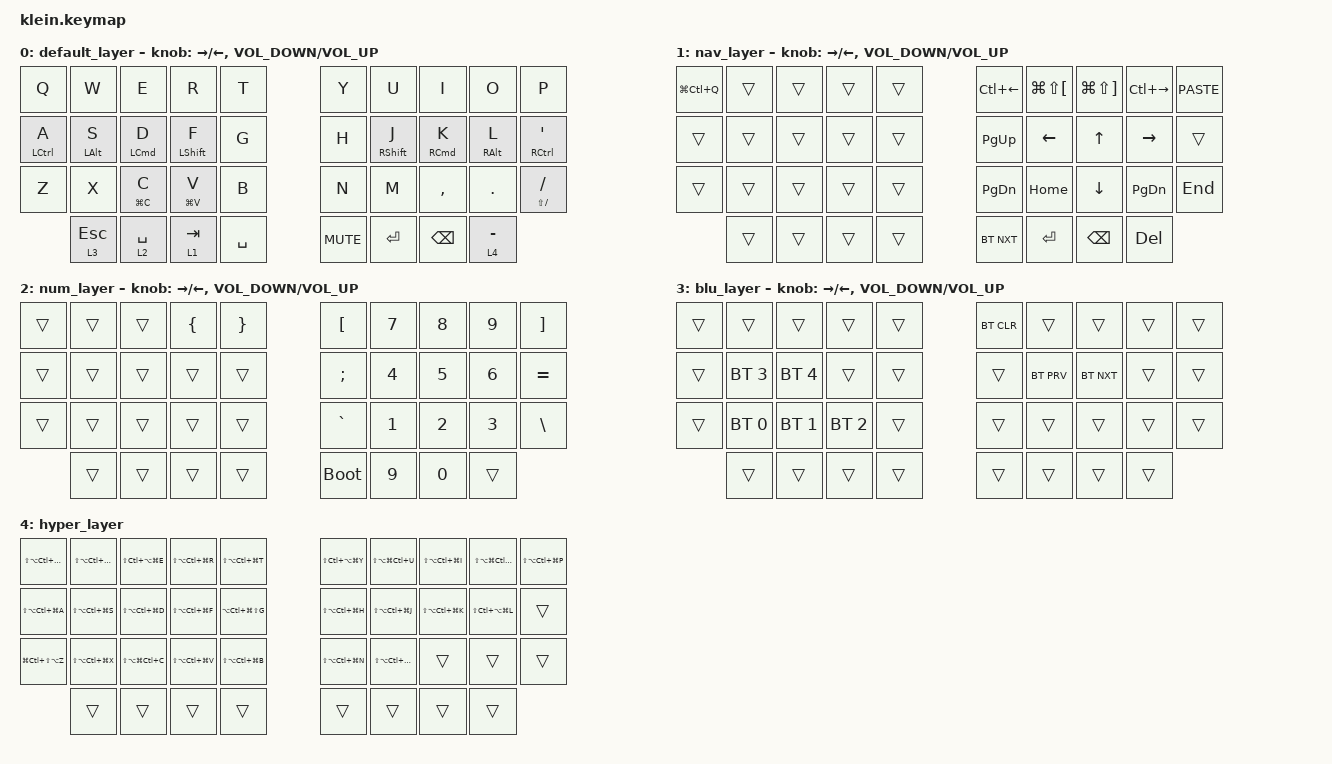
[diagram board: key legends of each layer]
/*
 * Copyright (c) 2020 The ZMK Contributors
 *
 * SPDX-License-Identifier: MIT
 */

#include <behaviors.dtsi>
#include <dt-bindings/zmk/bt.h>
#include <dt-bindings/zmk/keys.h>

#define BASE 0
#define NAV  1
#define NUM  2
#define FUN  3
#define SYM  4
#define MEDIA  5
#define BLU 6

&mt {
    quick-tap-ms = <100>;
    global-quick-tap;
    flavor = "tap-preferred";
    tapping-term-ms = <180>;
};

/ {
    combos {
        compatible = "zmk,combos";

        PrevTab {
            bindings = <&kp LG(LS(LEFT_BRACKET))>;
            key-positions = <6 7>;
        };

        NextTab {
            bindings = <&kp LG(LS(RIGHT_BRACKET))>;
            key-positions = <7 8>;
        };

        Clippy {
            bindings = <&kp LG(LA(V))>;
            key-positions = <23 22>;
        };

        Save {
            bindings = <&kp LG(S)>;
            key-positions = <11 12>;
        };
    };

    keymap {
        compatible = "zmk,keymap";

        default_layer {
            //          ------------------------------------------------------------------------------------------------------------
            //          |  Q  |  W  |  E   |  R   |  T   |                                           |  Y   |  U    |  I    |  O   |   P   |
            //          |  A  |  S  |  D   |  F   |  G   |                                           |  H   |  J    |  K    |  L   |   '   |
            //          |  Z  |  X  |  C   |  V   |  B   |                                           |  N   |  M    |  ,    |  .   |   /   |
            //                      | ESC  | SPC |  TAB | BOOTLOADER |                         | MUTE | RET | BKSP | DEL |

            bindings = <
&kp Q               &kp W        &kp E               &kp R        &kp T                                 &kp Y        &kp U        &kp I                &kp O       &kp P
&mt LEFT_CONTROL A  &mt LALT S   &mt LEFT_COMMAND D  &mt LSHFT F  &kp G                                 &kp H        &mt RSHFT J  &mt RIGHT_COMMAND K  &mt RALT L  &mt RIGHT_CONTROL SQT
&kp Z               &kp X        &mt LG(C) C         &mt LG(V) V  &kp B                                 &kp N        &kp M        &kp COMMA            &kp DOT     &mt LS(SLASH) SLASH
&lt 3 ESCAPE        &lt 2 SPACE  &lt 1 TAB           &kp SPACE    &kp K_MUTE  &kp ENTER  &kp BACKSPACE  &lt 4 MINUS
            >;

            sensor-bindings = <&inc_dec_kp RIGHT_ARROW LEFT_ARROW &inc_dec_kp K_VOLUME_DOWN K_VOLUME_UP>;
        };

        nav_layer {
            bindings = <
&kp LG(LC(Q))  &trans  &trans  &trans  &trans                         &kp LC(LEFT)   &kp LG(LS(LEFT_BRACKET))  &kp LG(LS(RIGHT_BRACKET))  &kp LC(RIGHT)  &kp K_PASTE
&trans         &trans  &trans  &trans  &trans                         &kp PAGE_UP    &kp LEFT                  &kp UP                     &kp RIGHT      &trans
&trans         &trans  &trans  &trans  &trans                         &kp PAGE_DOWN  &kp HOME                  &kp DOWN                   &kp PG_DN      &kp END
&trans         &trans  &trans  &trans  &bt BT_NXT  &kp RET  &kp BKSP  &kp DEL
            >;

            sensor-bindings = <&inc_dec_kp RIGHT_ARROW LEFT_ARROW &inc_dec_kp K_VOLUME_DOWN K_VOLUME_UP>;
        };

        num_layer {
            bindings = <
&trans  &trans  &trans  &kp LBRC  &kp RBRC                     &kp LEFT_BRACKET  &kp N7  &kp N8  &kp N9  &kp RIGHT_BRACKET
&trans  &trans  &trans  &trans    &trans                       &kp SEMI          &kp N4  &kp N5  &kp N6  &kp EQUAL
&trans  &trans  &trans  &trans    &trans                       &kp GRAVE         &kp N1  &kp N2  &kp N3  &kp BACKSLASH
&trans  &trans  &trans  &trans    &bootloader  &kp N9  &kp N0  &trans
            >;

            sensor-bindings = <&inc_dec_kp RIGHT_ARROW LEFT_ARROW &inc_dec_kp K_VOLUME_DOWN K_VOLUME_UP>;
        };

        blu_layer {
            bindings = <
&trans  &trans        &trans        &trans        &trans                  &bt BT_CLR  &trans      &trans      &trans  &trans
&trans  &bt BT_SEL 3  &bt BT_SEL 4  &trans        &trans                  &trans      &bt BT_PRV  &bt BT_NXT  &trans  &trans
&trans  &bt BT_SEL 0  &bt BT_SEL 1  &bt BT_SEL 2  &trans                  &trans      &trans      &trans      &trans  &trans
&trans  &trans        &trans        &trans        &trans  &trans  &trans  &trans
            >;

            sensor-bindings = <&inc_dec_kp RIGHT_ARROW LEFT_ARROW &inc_dec_kp K_VOLUME_DOWN K_VOLUME_UP>;
        };

        hyper_layer {
            bindings = <
&kp LS(LA(LC(LG(Q))))  &kp LS(LA(LC(LG(W))))  &kp LS(LC(LA(LG(E))))  &kp LS(LA(LC(LG(R))))  &kp LS(LA(LC(LG(T))))                  &kp LS(LC(LA(LG(Y))))  &kp LS(LA(LG(LC(U))))  &kp LS(LA(LC(LG(I))))  &kp LS(LA(LG(LC(O))))  &kp LS(LA(LC(LG(P))))
&kp LS(LA(LC(LG(A))))  &kp LS(LA(LC(LG(S))))  &kp LS(LA(LC(LG(D))))  &kp LS(LA(LC(LG(F))))  &kp LA(LC(LG(LS(G))))                  &kp LS(LA(LC(LG(H))))  &kp LS(LA(LC(LG(J))))  &kp LS(LA(LC(LG(K))))  &kp LS(LC(LA(LG(L))))  &trans
&kp LG(LC(LS(LA(Z))))  &kp LS(LA(LC(LG(X))))  &kp LS(LA(LG(LC(C))))  &kp LS(LA(LC(LG(V))))  &kp LS(LA(LC(LG(B))))                  &kp LS(LA(LC(LG(N))))  &kp LS(LA(LC(LG(M))))  &trans                 &trans                 &trans
&trans                 &trans                 &trans                 &trans                 &trans                 &trans  &trans  &trans
            >;
        };
    };
};
